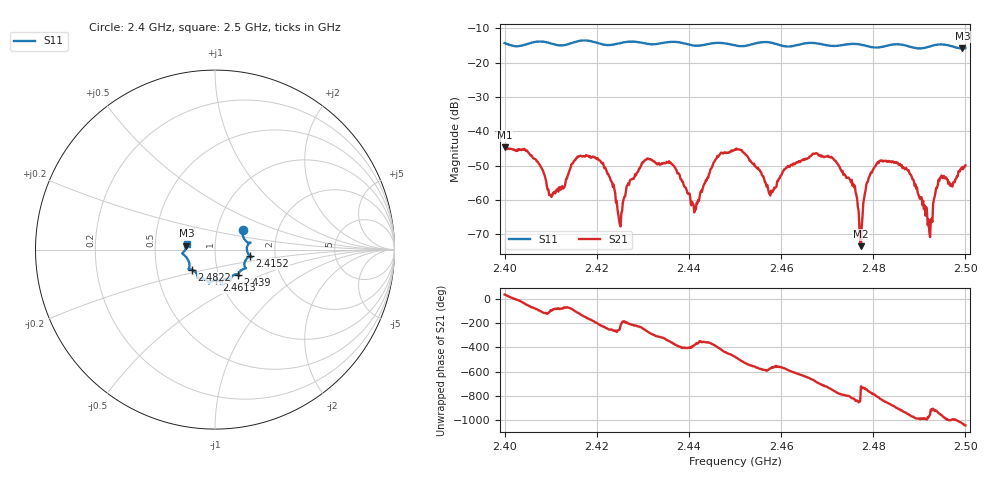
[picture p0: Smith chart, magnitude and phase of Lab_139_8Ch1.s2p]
# Hz S RI R 50
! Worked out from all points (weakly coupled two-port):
!   601 points, 2.4 GHz to 2.5 GHz, reference 50 ohm
!   highest |S21| = -44.70 dB at 2.4 GHz (marker M1); lowest = -73.5 dB at 2.4773 GHz (marker M2)
!   lowest |S11| = -15.9 dB at 2.4993 GHz (marker M3), VSWR 1.38, Z = 36.3 + j1.61 ohm
!   |S11| at or under -10 dB: start of sweep to end of sweep
!   S12 and S22 are empty: the file has one direction only
!   S11 on the Smith chart (normalised r, x): 2.4 GHz: 1.33, +0.31; 2.4152 GHz: 1.48, -0.11; 2.439 GHz: 1.24, -0.36; 2.4613 GHz: 0.96, -0.34; 2.4822 GHz: 0.75, -0.17; 2.5 GHz: 0.73, +0.05
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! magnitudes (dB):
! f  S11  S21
! 2.4 GHz  -14.4  -44.7
! 2.4102 GHz  -14.5  -59.1
! 2.4152 GHz  -14.1  -48.5
! 2.4167 GHz  -13.6  -47.3
! 2.4215 GHz  -14.8  -50.0
! 2.425 GHz  -14.4  -67.1
! 2.4333 GHz  -14.5  -49.5
! 2.439 GHz  -14.5  -56.0
! 2.4417 GHz  -15.1  -60.9
! 2.45 GHz  -15.0  -45.3
! 2.4577 GHz  -14.2  -58.7
! 2.4613 GHz  -15.3  -50.5
! 2.4667 GHz  -14.3  -46.9
! 2.4752 GHz  -14.6  -54.9
! 2.4773 GHz  -14.8  -73.5
! 2.479 GHz  -15.3  -53.6
! 2.4822 GHz  -15.4  -48.8
! 2.4833 GHz  -15.0  -48.7
! 2.4923 GHz  -15.3  -70.8
! 2.4945 GHz  -14.7  -53.5
! 2.4993 GHz  -15.9  -50.4
! 2.5 GHz  -15.8  -49.9
